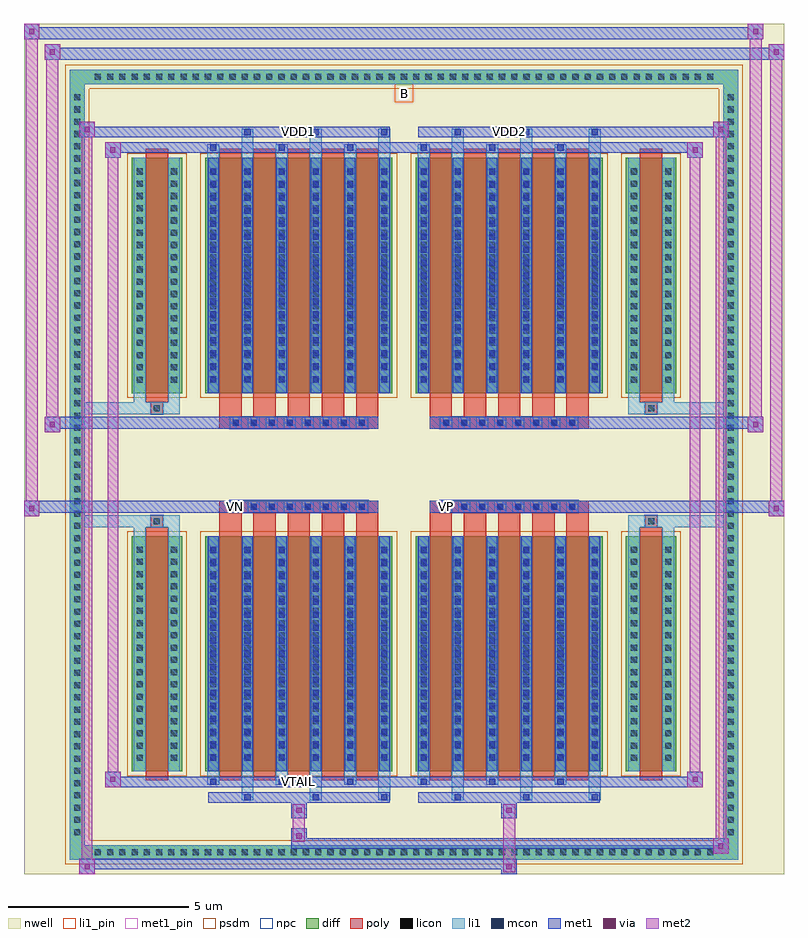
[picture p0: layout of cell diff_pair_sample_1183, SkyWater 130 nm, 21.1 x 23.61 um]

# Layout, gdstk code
import gdstk
lib = gdstk.Library(unit=1e-6, precision=5e-09)
def R(c, l, rs):  # rectangles x0, y0, x1, y1
    for r in rs: c.add(gdstk.rectangle(r[:2], r[2:], *l))
def A(c, l, x, y, w, h, nx, ny, dx, dy):  # array of equal rectangles
    R(c, l, [(x+i*dx, y+j*dy, x+i*dx+w, y+j*dy+h) for i in range(nx) for j in range(ny)])
def P(c, l, *ps):  # polygons
    for p in ps: c.add(gdstk.Polygon(p, *l))
nwell = (64, 20)
diff = (65, 20)
poly = (66, 20)
licon = (66, 44)
li1_pin = (67, 16)
li1 = (67, 20)
mcon = (67, 44)
met1_pin = (68, 16)
met1 = (68, 20)
via = (68, 44)
met2 = (69, 20)
psdm = (94, 20)
npc = (95, 20)

diff_pair_sample_1183 = lib.new_cell('diff_pair_sample_1183')
R(diff_pair_sample_1183, nwell, [(-10.55,-11.37,10.55,12.24), (-7.87,-9.56,-0.01,-0.8), (0.01,-9.56,7.87,-0.8), (-7.87,0.8,-0.01,9.56), (0.01,0.8,7.87,9.56)])
A(diff_pair_sample_1183, diff, -8.705, -10.97, 0.41, 0.41, 51, 2, 0.34, 21.53)
A(diff_pair_sample_1183, diff, -9.28, -10.405, 0.41, 0.41, 1, 61, 0, 0.34)
A(diff_pair_sample_1183, diff, 8.87, -10.405, 0.41, 0.41, 1, 61, 0, 0.34)
R(diff_pair_sample_1183, diff, [(-8.705,-10.97,8.705,-10.56), (-9.28,-10.405,-8.87,10.405), (8.87,-10.405,9.28,10.405), (-7.56,-8.515,-6.16,-1.985), (-5.52,-8.515,-0.32,-1.985), (0.32,-8.515,5.52,-1.985), (6.16,-8.515,7.56,-1.985), (-7.56,1.985,-6.16,8.515), (-5.52,1.985,-0.32,8.515), (0.32,1.985,5.52,8.515), (6.16,1.985,7.56,8.515), (-8.705,10.56,8.705,10.97)])
P(diff_pair_sample_1183, diff, [(9.28,10.97),(-9.28,10.97),(-9.28,-10.56),(-8.87,-10.56),(-8.87,10.56),(8.87,10.56),(8.87,-10.56),(-8.87,-10.56),(-9.28,-10.56),(-9.28,-10.97),(9.28,-10.97)])
A(diff_pair_sample_1183, poly, -5.13, -8.765, 0.62, 7.03, 5, 2, 0.95, 10.5)
A(diff_pair_sample_1183, poly, 0.71, -8.765, 0.62, 7.03, 5, 2, 0.95, 10.5)
A(diff_pair_sample_1183, poly, -5.13, -1.735, 0.62, 0.405, 5, 2, 0.95, 3.065)
A(diff_pair_sample_1183, poly, 0.71, -1.735, 0.62, 0.405, 5, 2, 0.95, 3.065)
A(diff_pair_sample_1183, poly, -4.835, -1.33, 0.33, 0.33, 8, 2, 0.5, 2.33)
A(diff_pair_sample_1183, poly, 1.005, -1.33, 0.33, 0.33, 8, 2, 0.5, 2.33)
R(diff_pair_sample_1183, poly, [(-7.17,-8.765,-6.55,-1.735), (6.55,-8.765,7.17,-1.735), (-7.025,-1.735,-6.695,-1.405), (-7.025,-1.735,-6.695,-1.405), (6.695,-1.735,7.025,-1.405), (6.695,-1.735,7.025,-1.405), (-5.13,-1.33,-0.71,-1), (0.71,-1.33,5.13,-1), (-5.13,1,-0.71,1.33), (0.71,1,5.13,1.33), (-7.025,1.405,-6.695,1.735), (-7.025,1.405,-6.695,1.735), (6.695,1.405,7.025,1.735), (6.695,1.405,7.025,1.735), (-7.17,1.735,-6.55,8.765), (6.55,1.735,7.17,8.765)])
A(diff_pair_sample_1183, licon, -8.585, -10.85, 0.17, 0.17, 51, 2, 0.34, 21.53)
A(diff_pair_sample_1183, licon, -9.16, -10.285, 0.17, 0.17, 1, 61, 0, 0.34)
A(diff_pair_sample_1183, licon, 8.99, -10.285, 0.17, 0.17, 1, 61, 0, 0.34)
A(diff_pair_sample_1183, licon, -7.42, -8.225, 0.17, 0.17, 1, 18, 0, 0.34)
A(diff_pair_sample_1183, licon, -6.47, -8.225, 0.17, 0.17, 1, 18, 0, 0.34)
A(diff_pair_sample_1183, licon, -5.38, -8.225, 0.17, 0.17, 6, 18, 0.95, 0.34)
A(diff_pair_sample_1183, licon, 0.46, -8.225, 0.17, 0.17, 6, 18, 0.95, 0.34)
A(diff_pair_sample_1183, licon, 6.3, -8.225, 0.17, 0.17, 1, 18, 0, 0.34)
A(diff_pair_sample_1183, licon, 7.25, -8.225, 0.17, 0.17, 1, 18, 0, 0.34)
A(diff_pair_sample_1183, licon, -4.755, -1.25, 0.17, 0.17, 8, 2, 0.5, 2.33)
A(diff_pair_sample_1183, licon, 1.085, -1.25, 0.17, 0.17, 8, 2, 0.5, 2.33)
A(diff_pair_sample_1183, licon, -7.42, 2.275, 0.17, 0.17, 1, 18, 0, 0.34)
A(diff_pair_sample_1183, licon, -6.47, 2.275, 0.17, 0.17, 1, 18, 0, 0.34)
A(diff_pair_sample_1183, licon, -5.38, 2.275, 0.17, 0.17, 6, 18, 0.95, 0.34)
A(diff_pair_sample_1183, licon, 0.46, 2.275, 0.17, 0.17, 6, 18, 0.95, 0.34)
A(diff_pair_sample_1183, licon, 6.3, 2.275, 0.17, 0.17, 1, 18, 0, 0.34)
A(diff_pair_sample_1183, licon, 7.25, 2.275, 0.17, 0.17, 1, 18, 0, 0.34)
R(diff_pair_sample_1183, licon, [(-6.945,-1.655,-6.775,-1.485), (6.775,-1.655,6.945,-1.485), (-6.945,1.485,-6.775,1.655), (6.775,1.485,6.945,1.655)])
R(diff_pair_sample_1183, li1_pin, [(-0.25,10.06,0.25,10.56)])
A(diff_pair_sample_1183, li1, -8.665, -10.93, 0.33, 0.33, 51, 2, 0.34, 21.53)
A(diff_pair_sample_1183, li1, -9.24, -10.365, 0.33, 0.33, 1, 61, 0, 0.34)
A(diff_pair_sample_1183, li1, 8.91, -10.365, 0.33, 0.33, 1, 61, 0, 0.34)
A(diff_pair_sample_1183, li1, -4.51, -9.32, 0.33, 0.805, 3, 2, 1.9, 17.835)
A(diff_pair_sample_1183, li1, -4.43, -9.32, 0.17, 0.17, 3, 2, 1.9, 18.47)
A(diff_pair_sample_1183, li1, 1.33, -9.32, 0.33, 0.805, 3, 2, 1.9, 17.835)
A(diff_pair_sample_1183, li1, 1.41, -9.32, 0.17, 0.17, 3, 2, 1.9, 18.47)
A(diff_pair_sample_1183, li1, -5.46, -8.89, 0.33, 0.375, 3, 2, 1.9, 17.405)
A(diff_pair_sample_1183, li1, -5.38, -8.89, 0.17, 0.17, 3, 2, 1.9, 17.61)
A(diff_pair_sample_1183, li1, 0.38, -8.89, 0.33, 0.375, 3, 2, 1.9, 17.405)
A(diff_pair_sample_1183, li1, 0.46, -8.89, 0.17, 0.17, 3, 2, 1.9, 17.61)
A(diff_pair_sample_1183, li1, -5.46, -8.515, 0.33, 6.53, 6, 2, 0.95, 10.5)
A(diff_pair_sample_1183, li1, 0.38, -8.515, 0.33, 6.53, 6, 2, 0.95, 10.5)
A(diff_pair_sample_1183, li1, -7.5, -8.305, 0.33, 0.33, 1, 18, 0, 0.34)
A(diff_pair_sample_1183, li1, -6.55, -8.305, 0.33, 0.33, 1, 18, 0, 0.34)
A(diff_pair_sample_1183, li1, -5.46, -8.305, 0.33, 0.33, 6, 18, 0.95, 0.34)
A(diff_pair_sample_1183, li1, 0.38, -8.305, 0.33, 0.33, 6, 18, 0.95, 0.34)
A(diff_pair_sample_1183, li1, 6.22, -8.305, 0.33, 0.33, 1, 18, 0, 0.34)
A(diff_pair_sample_1183, li1, 7.17, -8.305, 0.33, 0.33, 1, 18, 0, 0.34)
A(diff_pair_sample_1183, li1, -5.38, -8.215, 0.17, 0.17, 6, 17, 0.95, 0.36)
A(diff_pair_sample_1183, li1, -5.38, -8.215, 0.17, 5.93, 6, 2, 0.95, 10.5)
A(diff_pair_sample_1183, li1, 0.46, -8.215, 0.17, 0.17, 6, 17, 0.95, 0.36)
A(diff_pair_sample_1183, li1, 0.46, -8.215, 0.17, 5.93, 6, 2, 0.95, 10.5)
A(diff_pair_sample_1183, li1, -4.835, -1.33, 0.33, 0.33, 8, 2, 0.5, 2.33)
A(diff_pair_sample_1183, li1, 1.005, -1.33, 0.33, 0.33, 8, 2, 0.5, 2.33)
A(diff_pair_sample_1183, li1, -7.5, 2.195, 0.33, 0.33, 1, 18, 0, 0.34)
A(diff_pair_sample_1183, li1, -6.55, 2.195, 0.33, 0.33, 1, 18, 0, 0.34)
A(diff_pair_sample_1183, li1, -5.46, 2.195, 0.33, 0.33, 6, 18, 0.95, 0.34)
A(diff_pair_sample_1183, li1, 0.38, 2.195, 0.33, 0.33, 6, 18, 0.95, 0.34)
A(diff_pair_sample_1183, li1, 6.22, 2.195, 0.33, 0.33, 1, 18, 0, 0.34)
A(diff_pair_sample_1183, li1, 7.17, 2.195, 0.33, 0.33, 1, 18, 0, 0.34)
A(diff_pair_sample_1183, li1, -5.38, 2.285, 0.17, 0.17, 6, 17, 0.95, 0.36)
A(diff_pair_sample_1183, li1, 0.46, 2.285, 0.17, 0.17, 6, 17, 0.95, 0.36)
R(diff_pair_sample_1183, li1, [(-9.28,-10.97,-8.87,-10.56), (-9.28,-10.97,-8.87,-10.56), (-8.87,-10.97,8.87,-10.56), (8.87,-10.97,9.28,-10.56), (8.87,-10.97,9.28,-10.56), (-9.28,-10.56,-8.87,10.56), (8.87,-10.56,9.28,10.56), (-7.5,-8.515,-7.17,-1.985), (-6.55,-8.515,-6.22,-1.985), (6.22,-8.515,6.55,-1.985), (7.17,-8.515,7.5,-1.985), (-7.5,-1.985,-7.17,-1.405), (-6.55,-1.985,-6.22,-1.405), (6.22,-1.985,6.55,-1.405), (7.17,-1.985,7.5,-1.405), (-9.28,-1.735,-7.025,-1.405), (-7.5,-1.735,-7.025,-1.405), (-7.025,-1.735,-6.695,-1.405), (-6.695,-1.735,-6.22,-1.405), (6.22,-1.735,6.695,-1.405), (6.695,-1.735,7.025,-1.405), (6.695,-1.735,9.28,-1.405), (7.025,-1.735,7.5,-1.405), (-9.28,1.405,-7.025,1.735), (-7.5,1.405,-7.025,1.735), (-7.5,1.405,-7.17,1.985), (-7.025,1.405,-6.695,1.735), (-6.695,1.405,-6.22,1.735), (-6.55,1.405,-6.22,1.985), (6.22,1.405,6.695,1.735), (6.22,1.405,6.55,1.985), (6.695,1.405,7.025,1.735), (6.695,1.405,9.28,1.735), (7.025,1.405,7.5,1.735), (7.17,1.405,7.5,1.985), (-7.5,1.985,-7.17,8.515), (-6.55,1.985,-6.22,8.515), (6.22,1.985,6.55,8.515), (7.17,1.985,7.5,8.515), (-9.28,10.56,-8.87,10.97), (-9.28,10.56,-8.87,10.97), (-8.87,10.56,8.87,10.97), (8.87,10.56,9.28,10.97), (8.87,10.56,9.28,10.97)])
A(diff_pair_sample_1183, mcon, -4.43, -9.32, 0.17, 0.17, 3, 2, 1.9, 18.47)
A(diff_pair_sample_1183, mcon, 1.41, -9.32, 0.17, 0.17, 3, 2, 1.9, 18.47)
A(diff_pair_sample_1183, mcon, -5.38, -8.89, 0.17, 0.17, 3, 2, 1.9, 17.61)
A(diff_pair_sample_1183, mcon, 0.46, -8.89, 0.17, 0.17, 3, 2, 1.9, 17.61)
A(diff_pair_sample_1183, mcon, -5.38, -8.215, 0.17, 0.17, 6, 17, 0.95, 0.36)
A(diff_pair_sample_1183, mcon, 0.46, -8.215, 0.17, 0.17, 6, 17, 0.95, 0.36)
A(diff_pair_sample_1183, mcon, -4.755, -1.25, 0.17, 0.17, 8, 2, 0.5, 2.33)
A(diff_pair_sample_1183, mcon, 1.085, -1.25, 0.17, 0.17, 8, 2, 0.5, 2.33)
A(diff_pair_sample_1183, mcon, -5.38, 2.285, 0.17, 0.17, 6, 17, 0.95, 0.36)
A(diff_pair_sample_1183, mcon, 0.46, 2.285, 0.17, 0.17, 6, 17, 0.95, 0.36)
R(diff_pair_sample_1183, met1_pin, [(-3.055,-8.93,-2.785,-8.66), (-4.805,-1.29,-4.535,-1.02), (1.035,-1.29,1.305,-1.02), (-3.055,9.11,-2.785,9.38), (2.785,9.11,3.055,9.38)])
A(diff_pair_sample_1183, met1, -4.49, -9.38, 0.29, 0.29, 3, 2, 1.9, 18.47)
A(diff_pair_sample_1183, met1, 1.35, -9.38, 0.29, 0.29, 3, 2, 1.9, 18.47)
A(diff_pair_sample_1183, met1, -5.44, -8.95, 0.29, 0.29, 3, 2, 1.9, 17.61)
A(diff_pair_sample_1183, met1, 0.4, -8.95, 0.29, 0.29, 3, 2, 1.9, 17.61)
A(diff_pair_sample_1183, met1, -5.44, -8.515, 0.29, 6.53, 6, 2, 0.95, 10.5)
A(diff_pair_sample_1183, met1, 0.4, -8.515, 0.29, 6.53, 6, 2, 0.95, 10.5)
A(diff_pair_sample_1183, met1, -5.44, -8.275, 0.29, 0.29, 6, 17, 0.95, 0.36)
A(diff_pair_sample_1183, met1, 0.4, -8.275, 0.29, 0.29, 6, 17, 0.95, 0.36)
A(diff_pair_sample_1183, met1, -4.815, -1.31, 0.29, 0.29, 8, 2, 0.5, 2.33)
A(diff_pair_sample_1183, met1, 1.025, -1.31, 0.29, 0.29, 8, 2, 0.5, 2.33)
A(diff_pair_sample_1183, met1, -5.44, 2.225, 0.29, 0.29, 6, 17, 0.95, 0.36)
A(diff_pair_sample_1183, met1, 0.4, 2.225, 0.29, 0.29, 6, 17, 0.95, 0.36)
R(diff_pair_sample_1183, met1, [(-9.01,-11.37,-8.58,-10.94), (2.705,-11.37,3.135,-10.94), (-9.01,-11.23,3.135,-10.94), (8.58,-10.8,9.01,-10.37), (-3.135,-10.66,9.01,-10.37), (-3.135,-10.52,-2.705,-10.09), (-3.135,-9.81,-2.705,-9.38), (2.705,-9.81,3.135,-9.38), (-5.44,-9.38,-0.4,-9.09), (0.4,-9.38,5.44,-9.09), (-8.3,-8.95,-7.87,-8.52), (-8.3,-8.95,-5.44,-8.66), (-5.44,-8.95,-0.4,-8.66), (-0.4,-8.95,0.4,-8.66), (0.4,-8.95,5.44,-8.66), (5.44,-8.95,8.3,-8.66), (7.87,-8.95,8.3,-8.52), (-10.55,-1.43,-10.12,-1), (10.12,-1.43,10.55,-1), (-10.55,-1.33,-0.71,-1), (-5.13,-1.33,-0.71,-1), (0.71,-1.33,5.13,-1), (0.71,-1.33,10.55,-1), (-9.98,0.9,-9.55,1.33), (9.55,0.9,9.98,1.33), (-9.98,1,-5.13,1.33), (-5.13,1,-0.71,1.33), (0.71,1,5.13,1.33), (5.13,1,9.98,1.33), (-8.3,8.52,-7.87,8.95), (7.87,8.52,8.3,8.95), (-8.3,8.66,-5.44,8.95), (-5.44,8.66,-0.4,8.95), (-0.4,8.66,0.4,8.95), (0.4,8.66,5.44,8.95), (5.44,8.66,8.3,8.95), (-9.01,9.09,-8.58,9.52), (-9.01,9.09,-5.44,9.38), (-5.44,9.09,-0.4,9.38), (0.4,9.09,5.44,9.38), (5.44,9.09,9.01,9.38), (8.58,9.09,9.01,9.52), (-9.98,11.24,-9.55,11.67), (-9.98,11.24,-7.87,11.57), (-7.87,11.24,7.87,11.57), (7.87,11.24,10.55,11.57), (10.12,11.24,10.55,11.67), (-10.55,11.81,-10.12,12.24), (-10.55,11.81,-7.87,12.14), (-7.87,11.81,7.87,12.14), (7.87,11.81,9.98,12.14), (9.55,11.81,9.98,12.24)])
R(diff_pair_sample_1183, via, [(-8.87,-11.23,-8.72,-11.08), (2.845,-11.23,2.995,-11.08), (8.72,-10.66,8.87,-10.51), (-2.995,-10.38,-2.845,-10.23), (-2.995,-9.67,-2.845,-9.52), (2.845,-9.67,2.995,-9.52), (-8.16,-8.81,-8.01,-8.66), (8.01,-8.81,8.16,-8.66), (-10.41,-1.29,-10.26,-1.14), (10.26,-1.29,10.41,-1.14), (-9.84,1.04,-9.69,1.19), (9.69,1.04,9.84,1.19), (-8.16,8.66,-8.01,8.81), (8.01,8.66,8.16,8.81), (-8.87,9.23,-8.72,9.38), (8.72,9.23,8.87,9.38), (-9.84,11.38,-9.69,11.53), (10.26,11.38,10.41,11.53), (-10.41,11.95,-10.26,12.1), (9.69,11.95,9.84,12.1)])
R(diff_pair_sample_1183, met2, [(-9.01,-11.37,-8.58,-10.94), (-8.94,-11.37,-8.65,9.52), (-8.65,-11.37,-8.58,-10.94), (-8.96,-11.32,-8.63,-10.99), (2.755,-11.32,3.085,-10.99), (2.755,-10.99,3.085,-9.76), (8.58,-10.8,9.01,-10.37), (8.65,-10.8,8.94,9.52), (8.94,-10.8,9.01,-10.37), (8.63,-10.75,8.96,-10.42), (-3.085,-10.47,-2.755,-10.14), (-3.085,-10.14,-2.755,-9.76), (-3.085,-9.76,-2.755,-9.43), (2.755,-9.76,3.085,-9.43), (-8.3,-8.95,-7.87,-8.52), (-8.23,-8.95,-7.94,8.95), (-7.94,-8.95,-7.87,-8.52), (7.87,-8.95,8.3,-8.52), (7.94,-8.95,8.23,8.95), (8.23,-8.95,8.3,-8.52), (-8.25,-8.9,-7.92,-8.57), (7.92,-8.9,8.25,-8.57), (-10.55,-1.43,-10.12,-1), (-10.5,-1.43,-10.17,12.24), (-10.17,-1.43,-10.12,-1), (10.12,-1.43,10.55,-1), (10.17,-1.43,10.5,11.67), (10.5,-1.43,10.55,-1), (-10.5,-1.38,-10.17,-1.05), (10.17,-1.38,10.5,-1.05), (-9.98,0.9,-9.55,1.33), (-9.93,0.9,-9.6,11.67), (-9.6,0.9,-9.55,1.33), (9.55,0.9,9.98,1.33), (9.6,0.9,9.93,12.24), (9.93,0.9,9.98,1.33), (-9.93,0.95,-9.6,1.28), (9.6,0.95,9.93,1.28), (-8.3,8.52,-7.87,8.95), (-7.94,8.52,-7.87,8.95), (7.87,8.52,8.3,8.95), (8.23,8.52,8.3,8.95), (-8.25,8.57,-7.92,8.9), (7.92,8.57,8.25,8.9), (-9.01,9.09,-8.58,9.52), (-8.65,9.09,-8.58,9.52), (8.58,9.09,9.01,9.52), (8.94,9.09,9.01,9.52), (-8.96,9.14,-8.63,9.47), (8.63,9.14,8.96,9.47), (-9.98,11.24,-9.55,11.67), (-9.6,11.24,-9.55,11.67), (10.12,11.24,10.55,11.67), (10.5,11.24,10.55,11.67), (-9.93,11.29,-9.6,11.62), (10.17,11.29,10.5,11.62), (-10.55,11.81,-10.12,12.24), (-10.17,11.81,-10.12,12.24), (9.55,11.81,9.98,12.24), (9.93,11.81,9.98,12.24), (-10.5,11.86,-10.17,12.19), (9.6,11.86,9.93,12.19)])
R(diff_pair_sample_1183, psdm, [(-7.69,-8.645,-6.03,-1.855), (-5.65,-8.645,-0.19,-1.855), (0.19,-8.645,5.65,-1.855), (6.03,-8.645,7.69,-1.855), (-7.69,1.855,-6.03,8.645), (-5.65,1.855,-0.19,8.645), (0.19,1.855,5.65,8.645), (6.03,1.855,7.69,8.645)])
P(diff_pair_sample_1183, psdm, [(9.41,11.1),(-9.41,11.1),(-9.41,-10.43),(-8.74,-10.43),(-8.74,10.43),(8.74,10.43),(8.74,-10.43),(-8.74,-10.43),(-9.41,-10.43),(-9.41,-11.1),(9.41,-11.1)])
A(diff_pair_sample_1183, npc, -4.855, -1.35, 0.37, 0.37, 8, 2, 0.5, 2.33)
A(diff_pair_sample_1183, npc, 0.985, -1.35, 0.37, 0.37, 8, 2, 0.5, 2.33)
R(diff_pair_sample_1183, npc, [(-7.045,-1.755,-6.675,-1.385), (6.675,-1.755,7.045,-1.385), (-4.855,-1.35,-3.985,-0.98), (-4.855,-1.35,-3.985,-0.98), (-4.355,-1.35,-3.485,-0.98), (-4.355,-1.35,-3.485,-0.98), (-3.855,-1.35,-2.985,-0.98), (-3.855,-1.35,-2.985,-0.98), (-3.355,-1.35,-2.485,-0.98), (-3.355,-1.35,-2.485,-0.98), (-2.855,-1.35,-1.985,-0.98), (-2.855,-1.35,-1.985,-0.98), (-2.355,-1.35,-1.485,-0.98), (-2.355,-1.35,-1.485,-0.98), (-1.855,-1.35,-0.985,-0.98), (-1.855,-1.35,-0.985,-0.98), (0.985,-1.35,1.855,-0.98), (0.985,-1.35,1.855,-0.98), (1.485,-1.35,2.355,-0.98), (1.485,-1.35,2.355,-0.98), (1.985,-1.35,2.855,-0.98), (1.985,-1.35,2.855,-0.98), (2.485,-1.35,3.355,-0.98), (2.485,-1.35,3.355,-0.98), (2.985,-1.35,3.855,-0.98), (2.985,-1.35,3.855,-0.98), (3.485,-1.35,4.355,-0.98), (3.485,-1.35,4.355,-0.98), (3.985,-1.35,4.855,-0.98), (3.985,-1.35,4.855,-0.98), (-4.855,0.98,-3.985,1.35), (-4.855,0.98,-3.985,1.35), (-4.355,0.98,-3.485,1.35), (-4.355,0.98,-3.485,1.35), (-3.855,0.98,-2.985,1.35), (-3.855,0.98,-2.985,1.35), (-3.355,0.98,-2.485,1.35), (-3.355,0.98,-2.485,1.35), (-2.855,0.98,-1.985,1.35), (-2.855,0.98,-1.985,1.35), (-2.355,0.98,-1.485,1.35), (-2.355,0.98,-1.485,1.35), (-1.855,0.98,-0.985,1.35), (-1.855,0.98,-0.985,1.35), (0.985,0.98,1.855,1.35), (0.985,0.98,1.855,1.35), (1.485,0.98,2.355,1.35), (1.485,0.98,2.355,1.35), (1.985,0.98,2.855,1.35), (1.985,0.98,2.855,1.35), (2.485,0.98,3.355,1.35), (2.485,0.98,3.355,1.35), (2.985,0.98,3.855,1.35), (2.985,0.98,3.855,1.35), (3.485,0.98,4.355,1.35), (3.485,0.98,4.355,1.35), (3.985,0.98,4.855,1.35), (3.985,0.98,4.855,1.35), (-7.045,1.385,-6.675,1.755), (6.675,1.385,7.045,1.755)])
diff_pair_sample_1183.add(gdstk.Label('VTAIL', (-2.92,-8.795), layer=68, texttype=5))
diff_pair_sample_1183.add(gdstk.Label('VN', (-4.67,-1.155), layer=68, texttype=5))
diff_pair_sample_1183.add(gdstk.Label('VP', (1.17,-1.155), layer=68, texttype=5))
diff_pair_sample_1183.add(gdstk.Label('B', (0,10.31), layer=67, texttype=5))
diff_pair_sample_1183.add(gdstk.Label('VDD2', (2.92,9.245), layer=68, texttype=5))
diff_pair_sample_1183.add(gdstk.Label('VDD1', (-2.92,9.245), layer=68, texttype=5))

lib.write_gds('diff_pair_sample_1183.gds')
